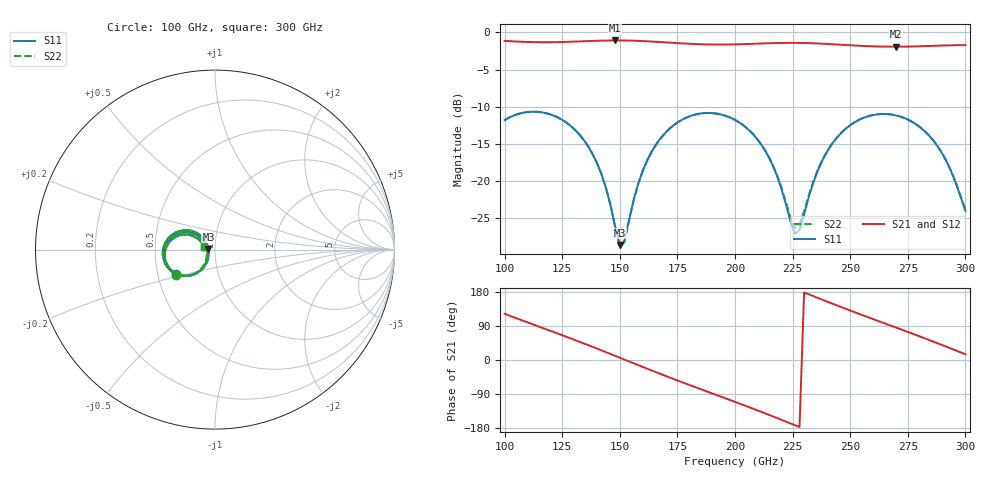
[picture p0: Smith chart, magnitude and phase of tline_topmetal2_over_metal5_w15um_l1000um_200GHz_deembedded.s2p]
! Created with skrf 2.2.0 (http://scikit-rf.org).
# GHz S DB R 50.0
! Port[1] = P1
! Port[2] = P2
!freq dBS11 angS11 dBS21 angS21 dBS12 angS12 dBS22 angS22
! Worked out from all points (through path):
!   101 points, 100 GHz to 300 GHz, reference 50 ohm
!   highest |S21| = -1.08 dB at 148 GHz (marker M1); lowest = -1.9 dB at 270 GHz (marker M2)
!   group delay of S21, straight-line fit = 6.5 ps
!   lowest |S11| = -28.6 dB at 150 GHz (marker M3), VSWR 1.08, Z = 46.4 + j0.314 ohm
!   |S11| at or under -10 dB: start of sweep to end of sweep
!   |S22| runs from -28.8 to -10.7 dB; largest |S21 - S12| = 1.5e-13
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100  -11.81 -147.3  -1.14 121.9  -1.14 121.9  -11.81 -147.2
118  -10.88 176.1  -1.32 81.2  -1.32 81.2  -10.88 176.2
134  -14.34 145.5  -1.20 44.6  -1.20 44.6  -14.33 145.5
142  -19.07 135.6  -1.11 25.5  -1.11 25.5  -19.07 135.4
148  -26.16 150.0  -1.08 10.9  -1.08 10.9  -26.24 149.5
150  -28.62 174.8  -1.08 6.0  -1.08 6.0  -28.79 174.5
152  -28.07 -152.1  -1.09 1.1  -1.09 1.1  -28.25 -151.6
160  -18.59 -122.5  -1.17 -18.4  -1.17 -18.4  -18.62 -121.8
168  -14.14 -133.1  -1.30 -37.6  -1.30 -37.6  -14.15 -132.5
184  -10.98 -163.3  -1.58 -74.4  -1.58 -74.4  -10.98 -162.7
200  -11.79 166.1  -1.61 -110.5  -1.61 -110.5  -11.78 166.9
214  -16.43 143.4  -1.47 -143.0  -1.47 -143.0  -16.37 144.9
226  -27.10 -179.9  -1.41 -172.0  -1.41 -172.0  -26.38 -178.8
228  -26.64 -153.6  -1.42 -176.9  -1.42 -176.9  -25.98 -155.0
234  -20.21 -124.4  -1.47 168.5  -1.47 168.5  -20.05 -126.2
240  -16.04 -127.2  -1.55 154.1  -1.55 154.1  -15.99 -128.3
248  -12.99 -139.4  -1.70 135.2  -1.70 135.2  -12.97 -140.0
258  -11.27 -157.6  -1.85 112.3  -1.85 112.3  -11.26 -157.9
268  -11.07 -176.1  -1.92 89.8  -1.92 89.8  -11.06 -176.3
270  -11.19 -179.8  -1.92 85.3  -1.92 85.3  -11.18 -179.9
288  -15.37 150.9  -1.79 44.0  -1.79 44.0  -15.35 151.1
300  -24.04 165.2  -1.71 15.2  -1.71 15.2  -23.88 165.7
